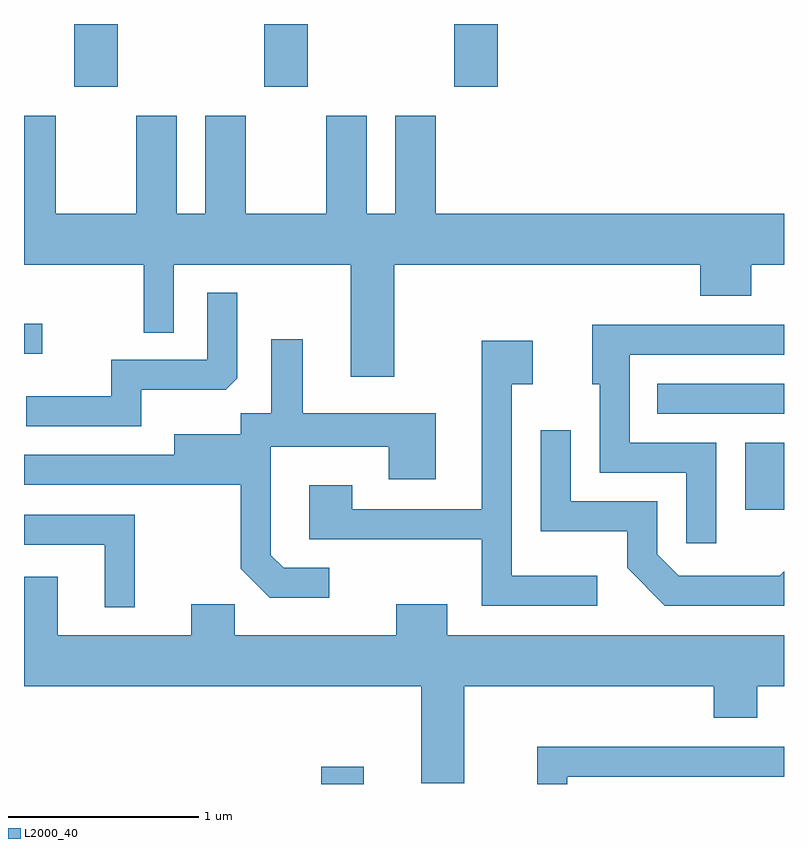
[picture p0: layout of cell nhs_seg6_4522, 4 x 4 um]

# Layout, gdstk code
import gdstk
lib = gdstk.Library(unit=1e-6, precision=1e-09)
def R(c, l, rs):  # rectangles x0, y0, x1, y1
    for r in rs: c.add(gdstk.rectangle(r[:2], r[2:], *l))
def A(c, l, x, y, w, h, nx, ny, dx, dy):  # array of equal rectangles
    R(c, l, [(x+i*dx, y+j*dy, x+i*dx+w, y+j*dy+h) for i in range(nx) for j in range(ny)])
def P(c, l, *ps):  # polygons
    for p in ps: c.add(gdstk.Polygon(p, *l))
L2000_40 = (2000, 40)

nhs_seg6_4522 = lib.new_cell('nhs_seg6_4522')
A(nhs_seg6_4522, L2000_40, 323.876, 1579.831, 0.228, 0.331, 3, 1, 1, 0)
R(nhs_seg6_4522, L2000_40, [(325.176,1576.162,325.399,1576.254), (327.406,1577.606,327.611,1577.959), (326.943,1578.111,327.611,1578.269), (323.611,1578.426,323.708,1578.584)])
P(nhs_seg6_4522, L2000_40, [(325.559,1578.896),(327.171,1578.896),(327.171,1578.731),(327.439,1578.731),(327.439,1578.896),(327.611,1578.896),(327.611,1579.164),(325.779,1579.164),(325.779,1579.679),(325.566,1579.679),(325.566,1579.164),(325.414,1579.164),(325.414,1579.679),(325.201,1579.679),(325.201,1579.164),(324.779,1579.164),(324.779,1579.679),(324.566,1579.679),(324.566,1579.164),(324.414,1579.164),(324.414,1579.679),(324.201,1579.679),(324.201,1579.164),(323.779,1579.164),(323.779,1579.679),(323.611,1579.679),(323.611,1578.896),(324.241,1578.896),(324.241,1578.538),(324.399,1578.538),(324.399,1578.896),(325.331,1578.896),(325.331,1578.306),(325.559,1578.306)],
  [(324.229,1578.236),(324.674,1578.236),(324.734,1578.297),(324.734,1578.748),(324.576,1578.748),(324.576,1578.394),(324.071,1578.394),(324.071,1578.204),(323.623,1578.204),(323.623,1578.046),(324.229,1578.046)],
  [(327.254,1577.959),(326.799,1577.959),(326.799,1578.421),(327.611,1578.421),(327.611,1578.579),(326.601,1578.579),(326.601,1578.266),(326.641,1578.266),(326.641,1577.801),(327.096,1577.801),(327.096,1577.428),(327.254,1577.428)],
  [(325.218,1577.299),(324.977,1577.299),(324.909,1577.367),(324.909,1577.936),(325.531,1577.936),(325.531,1577.766),(325.779,1577.766),(325.779,1578.114),(325.079,1578.114),(325.079,1578.503),(324.911,1578.503),(324.911,1578.114),(324.751,1578.114),(324.751,1578.004),(324.401,1578.004),(324.401,1577.894),(323.611,1577.894),(323.611,1577.736),(324.751,1577.736),(324.751,1577.294),(324.904,1577.141),(325.218,1577.141)],
  [(326.628,1577.259),(326.179,1577.259),(326.179,1578.266),(326.289,1578.266),(326.289,1578.494),(326.021,1578.494),(326.021,1577.609),(325.339,1577.609),(325.339,1577.734),(325.111,1577.734),(325.111,1577.451),(326.021,1577.451),(326.021,1577.101),(326.628,1577.101)],
  [(327.611,1577.281),(327.589,1577.259),(327.057,1577.259),(326.944,1577.372),(326.944,1577.649),(326.489,1577.649),(326.489,1578.023),(326.331,1578.023),(326.331,1577.491),(326.786,1577.491),(326.786,1577.299),(326.984,1577.101),(327.611,1577.101)],
  [(324.194,1577.579),(323.611,1577.579),(323.611,1577.421),(324.036,1577.421),(324.036,1577.093),(324.194,1577.093)],
  [(325.929,1576.676),(327.241,1576.676),(327.241,1576.511),(327.469,1576.511),(327.469,1576.676),(327.611,1576.676),(327.611,1576.944),(325.839,1576.944),(325.839,1577.109),(325.571,1577.109),(325.571,1576.944),(324.719,1576.944),(324.719,1577.109),(324.491,1577.109),(324.491,1576.944),(323.789,1576.944),(323.789,1577.254),(323.611,1577.254),(323.611,1576.676),(325.701,1576.676),(325.701,1576.166),(325.929,1576.166)],
  [(326.469,1576.201),(327.611,1576.201),(327.611,1576.359),(326.311,1576.359),(326.311,1576.162),(326.469,1576.162)])

lib.write_gds('nhs_seg6_4522.gds')
